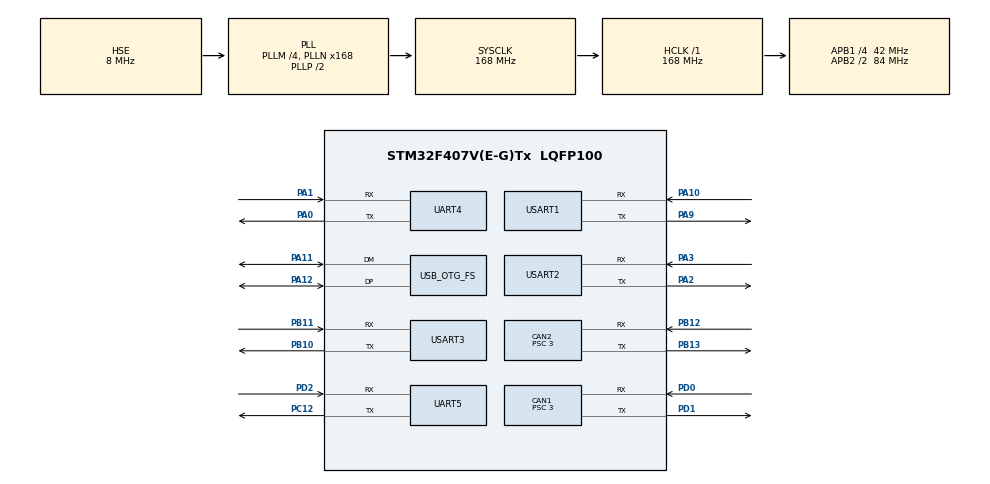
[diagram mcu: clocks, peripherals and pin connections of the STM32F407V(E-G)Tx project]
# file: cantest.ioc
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CAN1.BS1=CAN_BS1_10TQ
CAN1.BS2=CAN_BS2_3TQ
CAN1.CalculateBaudRate=1000000
CAN1.CalculateTimeBit=1000
CAN1.CalculateTimeQuantum=71.42857142857143
CAN1.Prescaler=3
CAN2.BS1=CAN_BS1_10TQ
CAN2.BS2=CAN_BS2_3TQ
CAN2.CalculateBaudRate=1000000
CAN2.CalculateTimeBit=1000
CAN2.CalculateTimeQuantum=71.42857142857143
CAN2.Prescaler=3
Dma.Request0=USART1_RX
Dma.Request1=USART1_TX
Dma.Request2=USART2_RX
Dma.Request3=USART2_TX
Dma.Request4=USART3_RX
Dma.Request5=USART3_TX
Dma.Request6=UART5_TX
Dma.Request7=UART5_RX
Dma.Request8=UART4_RX
Dma.Request9=UART4_TX
Dma.UART4_RX.8.Direction=DMA_PERIPH_TO_MEMORY
Dma.UART4_RX.8.FIFOMode=DMA_FIFOMODE_DISABLE
Dma.UART4_RX.8.Instance=DMA1_Stream2
Dma.UART4_RX.8.MemDataAlignment=DMA_MDATAALIGN_BYTE
Dma.UART4_RX.8.MemInc=DMA_MINC_ENABLE
Dma.UART4_RX.8.Mode=DMA_NORMAL
Dma.UART4_RX.8.PeriphDataAlignment=DMA_PDATAALIGN_BYTE
Dma.UART4_RX.8.PeriphInc=DMA_PINC_DISABLE
Dma.UART4_RX.8.Priority=DMA_PRIORITY_LOW
Dma.UART4_TX.9.Direction=DMA_MEMORY_TO_PERIPH
Dma.UART4_TX.9.FIFOMode=DMA_FIFOMODE_DISABLE
Dma.UART4_TX.9.Instance=DMA1_Stream4
Dma.UART4_TX.9.MemDataAlignment=DMA_MDATAALIGN_BYTE
Dma.UART4_TX.9.MemInc=DMA_MINC_ENABLE
Dma.UART4_TX.9.Mode=DMA_NORMAL
Dma.UART4_TX.9.PeriphDataAlignment=DMA_PDATAALIGN_BYTE
Dma.UART4_TX.9.PeriphInc=DMA_PINC_DISABLE
Dma.UART4_TX.9.Priority=DMA_PRIORITY_LOW
Dma.UART5_RX.7.Direction=DMA_PERIPH_TO_MEMORY
Dma.UART5_RX.7.FIFOMode=DMA_FIFOMODE_DISABLE
Dma.UART5_RX.7.Instance=DMA1_Stream0
Dma.UART5_RX.7.MemDataAlignment=DMA_MDATAALIGN_BYTE
Dma.UART5_RX.7.MemInc=DMA_MINC_ENABLE
Dma.UART5_RX.7.Mode=DMA_NORMAL
Dma.UART5_RX.7.PeriphDataAlignment=DMA_PDATAALIGN_BYTE
Dma.UART5_RX.7.PeriphInc=DMA_PINC_DISABLE
Dma.UART5_RX.7.Priority=DMA_PRIORITY_LOW
Dma.UART5_TX.6.Direction=DMA_MEMORY_TO_PERIPH
Dma.UART5_TX.6.FIFOMode=DMA_FIFOMODE_DISABLE
Dma.UART5_TX.6.Instance=DMA1_Stream7
Dma.UART5_TX.6.MemDataAlignment=DMA_MDATAALIGN_BYTE
Dma.UART5_TX.6.MemInc=DMA_MINC_ENABLE
Dma.UART5_TX.6.Mode=DMA_NORMAL
Dma.UART5_TX.6.PeriphDataAlignment=DMA_PDATAALIGN_BYTE
Dma.UART5_TX.6.PeriphInc=DMA_PINC_DISABLE
Dma.UART5_TX.6.Priority=DMA_PRIORITY_LOW
Dma.USART1_RX.0.Direction=DMA_PERIPH_TO_MEMORY
Dma.USART1_RX.0.FIFOMode=DMA_FIFOMODE_DISABLE
Dma.USART1_RX.0.Instance=DMA2_Stream2
Dma.USART1_RX.0.MemDataAlignment=DMA_MDATAALIGN_BYTE
Dma.USART1_RX.0.MemInc=DMA_MINC_ENABLE
Dma.USART1_RX.0.Mode=DMA_NORMAL
Dma.USART1_RX.0.PeriphDataAlignment=DMA_PDATAALIGN_BYTE
Dma.USART1_RX.0.PeriphInc=DMA_PINC_DISABLE
Dma.USART1_RX.0.Priority=DMA_PRIORITY_LOW
Dma.USART1_TX.1.Direction=DMA_MEMORY_TO_PERIPH
Dma.USART1_TX.1.FIFOMode=DMA_FIFOMODE_DISABLE
Dma.USART1_TX.1.Instance=DMA2_Stream7
Dma.USART1_TX.1.MemDataAlignment=DMA_MDATAALIGN_BYTE
Dma.USART1_TX.1.MemInc=DMA_MINC_ENABLE
Dma.USART1_TX.1.Mode=DMA_NORMAL
Dma.USART1_TX.1.PeriphDataAlignment=DMA_PDATAALIGN_BYTE
Dma.USART1_TX.1.PeriphInc=DMA_PINC_DISABLE
Dma.USART1_TX.1.Priority=DMA_PRIORITY_LOW
Dma.USART2_RX.2.Direction=DMA_PERIPH_TO_MEMORY
Dma.USART2_RX.2.FIFOMode=DMA_FIFOMODE_DISABLE
Dma.USART2_RX.2.Instance=DMA1_Stream5
Dma.USART2_RX.2.MemDataAlignment=DMA_MDATAALIGN_BYTE
Dma.USART2_RX.2.MemInc=DMA_MINC_ENABLE
Dma.USART2_RX.2.Mode=DMA_NORMAL
Dma.USART2_RX.2.PeriphDataAlignment=DMA_PDATAALIGN_BYTE
Dma.USART2_RX.2.PeriphInc=DMA_PINC_DISABLE
Dma.USART2_RX.2.Priority=DMA_PRIORITY_LOW
Dma.USART2_TX.3.Direction=DMA_MEMORY_TO_PERIPH
Dma.USART2_TX.3.FIFOMode=DMA_FIFOMODE_DISABLE
Dma.USART2_TX.3.Instance=DMA1_Stream6
Dma.USART2_TX.3.MemDataAlignment=DMA_MDATAALIGN_BYTE
Dma.USART2_TX.3.MemInc=DMA_MINC_ENABLE
Dma.USART2_TX.3.Mode=DMA_NORMAL
Dma.USART2_TX.3.PeriphDataAlignment=DMA_PDATAALIGN_BYTE
Dma.USART2_TX.3.PeriphInc=DMA_PINC_DISABLE
Dma.USART2_TX.3.Priority=DMA_PRIORITY_LOW
Dma.USART3_RX.4.Direction=DMA_PERIPH_TO_MEMORY
Dma.USART3_RX.4.FIFOMode=DMA_FIFOMODE_DISABLE
Dma.USART3_RX.4.Instance=DMA1_Stream1
Dma.USART3_RX.4.MemDataAlignment=DMA_MDATAALIGN_BYTE
Dma.USART3_RX.4.MemInc=DMA_MINC_ENABLE
Dma.USART3_RX.4.Mode=DMA_NORMAL
Dma.USART3_RX.4.PeriphDataAlignment=DMA_PDATAALIGN_BYTE
Dma.USART3_RX.4.PeriphInc=DMA_PINC_DISABLE
Dma.USART3_RX.4.Priority=DMA_PRIORITY_LOW
Dma.USART3_TX.5.Direction=DMA_MEMORY_TO_PERIPH
Dma.USART3_TX.5.FIFOMode=DMA_FIFOMODE_DISABLE
Dma.USART3_TX.5.Instance=DMA1_Stream3
Dma.USART3_TX.5.MemDataAlignment=DMA_MDATAALIGN_BYTE
Dma.USART3_TX.5.MemInc=DMA_MINC_ENABLE
Dma.USART3_TX.5.Mode=DMA_NORMAL
Dma.USART3_TX.5.PeriphDataAlignment=DMA_PDATAALIGN_BYTE
Dma.USART3_TX.5.PeriphInc=DMA_PINC_DISABLE
Dma.USART3_TX.5.Priority=DMA_PRIORITY_LOW
FREERTOS.Tasks01=defaultTask,24,128,StartDefaultTask,Default,NULL,Dynamic,NULL,NULL
Mcu.Family=STM32F4
Mcu.Name=STM32F407V(E-G)Tx
Mcu.Package=LQFP100
NVIC.CAN1_RX0_IRQn=true\:5\:0\:false\:false\:true\:true\:true\:true\:true
NVIC.CAN1_RX1_IRQn=true\:5\:0\:false\:false\:true\:true\:true\:true\:true
NVIC.CAN2_RX0_IRQn=true\:5\:0\:false\:false\:true\:true\:true\:true\:true
NVIC.CAN2_RX1_IRQn=true\:5\:0\:false\:false\:true\:true\:true\:true\:true
NVIC.DMA1_Stream0_IRQn=true\:5\:0\:false\:false\:true\:true\:false\:true\:true
NVIC.DMA1_Stream1_IRQn=true\:5\:0\:false\:false\:true\:true\:false\:true\:true
NVIC.DMA1_Stream2_IRQn=true\:5\:0\:false\:false\:true\:true\:false\:true\:true
NVIC.DMA1_Stream3_IRQn=true\:5\:0\:false\:false\:true\:true\:false\:true\:true
NVIC.DMA1_Stream4_IRQn=true\:5\:0\:false\:false\:true\:true\:false\:true\:true
NVIC.DMA1_Stream5_IRQn=true\:5\:0\:false\:false\:true\:true\:false\:true\:true
NVIC.DMA1_Stream6_IRQn=true\:5\:0\:false\:false\:true\:true\:false\:true\:true
NVIC.DMA1_Stream7_IRQn=true\:5\:0\:false\:false\:true\:true\:false\:true\:true
NVIC.DMA2_Stream2_IRQn=true\:5\:0\:false\:false\:true\:true\:false\:true\:true
NVIC.DMA2_Stream7_IRQn=true\:5\:0\:false\:false\:true\:true\:false\:true\:true
NVIC.OTG_FS_IRQn=true\:5\:0\:false\:false\:true\:true\:false\:true\:true
NVIC.PriorityGroup=NVIC_PRIORITYGROUP_4
NVIC.TIM1_UP_TIM10_IRQn=true\:15\:0\:false\:false\:true\:false\:false\:true\:true
NVIC.TimeBase=TIM1_UP_TIM10_IRQn
NVIC.TimeBaseIP=TIM1
NVIC.UART5_IRQn=true\:5\:0\:false\:false\:true\:true\:true\:true\:true
NVIC.USART1_IRQn=true\:5\:0\:false\:false\:true\:true\:true\:true\:true
NVIC.USART3_IRQn=true\:5\:0\:false\:false\:true\:true\:true\:true\:true
PA0-WKUP.Mode=Asynchronous
PA0-WKUP.Signal=UART4_TX
PA1.Mode=Asynchronous
PA1.Signal=UART4_RX
PA10.Mode=Asynchronous
PA10.Signal=USART1_RX
PA11.Mode=Device_Only
PA11.Signal=USB_OTG_FS_DM
PA12.Mode=Device_Only
PA12.Signal=USB_OTG_FS_DP
PA13.Mode=Serial_Wire
PA13.Signal=SYS_JTMS-SWDIO
PA14.Mode=Serial_Wire
PA14.Signal=SYS_JTCK-SWCLK
PA2.Mode=Asynchronous
PA2.Signal=USART2_TX
PA3.Mode=Asynchronous
PA3.Signal=USART2_RX
PA9.Mode=Asynchronous
PA9.Signal=USART1_TX
PB10.Mode=Asynchronous
PB10.Signal=USART3_TX
PB11.Mode=Asynchronous
PB11.Signal=USART3_RX
PB12.Mode=CAN_Activate
PB12.Signal=CAN2_RX
PB13.Mode=CAN_Activate
PB13.Signal=CAN2_TX
PC12.Mode=Asynchronous
PC12.Signal=UART5_TX
PC14-OSC32_IN.Mode=LSE-External-Oscillator
PC14-OSC32_IN.Signal=RCC_OSC32_IN
PC15-OSC32_OUT.Mode=LSE-External-Oscillator
PC15-OSC32_OUT.Signal=RCC_OSC32_OUT
PD0.Mode=CAN_Activate
PD0.Signal=CAN1_RX
PD1.Mode=CAN_Activate
PD1.Signal=CAN1_TX
PD2.Mode=Asynchronous
PD2.Signal=UART5_RX
PH0-OSC_IN.Mode=HSE-External-Oscillator
PH0-OSC_IN.Signal=RCC_OSC_IN
PH1-OSC_OUT.Mode=HSE-External-Oscillator
PH1-OSC_OUT.Signal=RCC_OSC_OUT
ProjectManager.HeapSize=0x200
ProjectManager.StackSize=0x400
ProjectManager.TargetToolchain=MDK-ARM V5.32
RCC.48MHZClocksFreq_Value=48000000
RCC.AHBFreq_Value=168000000
RCC.APB1CLKDivider=RCC_HCLK_DIV4
RCC.APB1Freq_Value=42000000
RCC.APB1TimFreq_Value=84000000
RCC.APB2CLKDivider=RCC_HCLK_DIV2
RCC.APB2Freq_Value=84000000
RCC.APB2TimFreq_Value=168000000
RCC.CortexFreq_Value=168000000
RCC.HCLKFreq_Value=168000000
RCC.HSE_VALUE=8000000
RCC.HSI_VALUE=16000000
RCC.PLLM=4
RCC.PLLN=168
RCC.PLLQ=7
RCC.SYSCLKFreq_VALUE=168000000
RCC.SYSCLKSource=RCC_SYSCLKSOURCE_PLLCLK
RCC.VCOOutputFreq_Value=336000000
UART4.VirtualMode=Asynchronous
UART5.VirtualMode=Asynchronous
USART1.VirtualMode=VM_ASYNC
USART2.VirtualMode=VM_ASYNC
USART3.VirtualMode=VM_ASYNC
USB_DEVICE.CLASS_NAME_FS=CDC
USB_DEVICE.VirtualMode-CDC_FS=Cdc
USB_DEVICE.VirtualModeFS=Cdc_FS
USB_OTG_FS.VirtualMode=Device_Only
VP_CRC_VS_CRC.Mode=CRC_Activate
VP_FREERTOS_VS_CMSIS_V2.Mode=CMSIS_V2
VP_SYS_VS_tim1.Mode=TIM1
VP_USB_DEVICE_VS_USB_DEVICE_CDC_FS.Mode=CDC_FS
board=custom

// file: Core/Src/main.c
/* USER CODE BEGIN Header */
/**
  ******************************************************************************
  * @file           : main.c
  * @brief          : Main program body
  ******************************************************************************
  * @attention
  *
  * Copyright (c) 2026 STMicroelectronics.
  * All rights reserved.
  *
  * This software is licensed under terms that can be found in the LICENSE file
  * in the root directory of this software component.
  * If no LICENSE file comes with this software, it is provided AS-IS.
  *
  ******************************************************************************
  */
/* USER CODE END Header */
#include "main.h"
#include "cmsis_os.h"
#include "can.h"
#include "crc.h"
#include "dma.h"
#include "usart.h"
#include "usb_device.h"
#include "gpio.h"

/* USER CODE BEGIN Includes */
#include "bsp_dwt.h"
#include <stdio.h>   /* snprintf: 复位标志诊断 */
/* USER CODE END Includes */

void SystemClock_Config(void);
void MX_FREERTOS_Init(void);

int main(void)
{

  /* MCU Configuration--------------------------------------------------------*/

  /* Reset of all peripherals, Initializes the Flash interface and the Systick. */
  HAL_Init();

  /* Configure the system clock */
  SystemClock_Config();

  /* USER CODE BEGIN SysInit */
  /* 初始化DWT高精度计时器, dji_motor.c 的 DWT_GetDeltaT 依赖此初始化。
   * 注: Keil调试器会自动使能DWT, debug模式正常; 但脱机运行时若不调用
   * DWT_Init, DWT计数器不工作, motor->dt为0, PID计算异常。两工程时钟一致
   * (168MHz), 故参数与源工程相同 SystemCoreClock/1000000 = 168。 */
  DWT_Init(SystemCoreClock / 1000000U);
  /* USER CODE END SysInit */

  /* Initialize all configured peripherals */
  MX_GPIO_Init();
  MX_DMA_Init();
  MX_CAN1_Init();
  MX_USART1_UART_Init();
  MX_CAN2_Init();
  MX_CRC_Init();
  MX_UART5_Init();
  MX_USART2_UART_Init();
  MX_USART3_UART_Init();
  MX_UART4_Init();
  /* USER CODE BEGIN 2 */
  /* USART1 TX 通路诊断: 调度器启动前直接发一帧, 排除 RTOS/printf 因素。
   * 串口工具收到 "UART1-OK" -> PA9 TX 通路正常, 问题在端口接错或 RTOS 侧;
   * 收不到 -> 物理上没接到 USART1(可能在看 USB-CDC, 或线序/波特率错)。
   * 定位后删本行。 */
  HAL_UART_Transmit(&huart1, (uint8_t *)"UART1-OK\r\n", 10, 100);
  /* 复位原因诊断: 读 RCC->CSR 判断本次复位由谁触发。
   * IWDGRSTF=独立看门狗 WWDGRSTF=窗口看门狗 SFTRSTF=软件复位(NVIC_SystemReset)
   * PORRSTF=上电 PINRSTF=复位引脚 BORRSTF=掉电 LPWRSTF=低功耗。
   * IWDG/SFT 置位 = 软件/看门狗反复重启; 仅 POR/PIN/BOR = 硬件/电源。
   * 清标志后下次复位可重新判断。定位后删本块。 */
  {
    uint32_t csr = RCC->CSR;
    char buf[96];
    int n = snprintf(buf, sizeof(buf),
      "\r\nRST CSR=0x%08lX IWDG=%lu WWDG=%lu SFT=%lu POR=%lu PIN=%lu BOR=%lu\r\n",
      (unsigned long)csr,
      (unsigned long)(csr & RCC_CSR_IWDGRSTF ? 1:0),
      (unsigned long)(csr & RCC_CSR_WWDGRSTF ? 1:0),
      (unsigned long)(csr & RCC_CSR_SFTRSTF ? 1:0),
      (unsigned long)(csr & RCC_CSR_PORRSTF ? 1:0),
      (unsigned long)(csr & RCC_CSR_PINRSTF ? 1:0),
      (unsigned long)(csr & RCC_CSR_BORRSTF ? 1:0));
    HAL_UART_Transmit(&huart1, (uint8_t *)buf, (uint16_t)n, 100);
    __HAL_RCC_CLEAR_RESET_FLAGS();
  }
  /* USER CODE END 2 */

  /* Init scheduler */
  osKernelInitialize();  /* Call init function for freertos objects (in cmsis_os2.c) */
  MX_FREERTOS_Init();

  /* Start scheduler */
  osKernelStart();

  /* We should never get here as control is now taken by the scheduler */

  /* Infinite loop */
  while (1)
  {

  }
}

void SystemClock_Config(void)
{
  RCC_OscInitTypeDef RCC_OscInitStruct = {0};
  RCC_ClkInitTypeDef RCC_ClkInitStruct = {0};

  /** Configure the main internal regulator output voltage
  */
  __HAL_RCC_PWR_CLK_ENABLE();
  __HAL_PWR_VOLTAGESCALING_CONFIG(PWR_REGULATOR_VOLTAGE_SCALE1);

  /** Initializes the RCC Oscillators according to the specified parameters
  * in the RCC_OscInitTypeDef structure.
  */
  RCC_OscInitStruct.OscillatorType = RCC_OSCILLATORTYPE_HSE;
  RCC_OscInitStruct.HSEState = RCC_HSE_ON;
  RCC_OscInitStruct.PLL.PLLState = RCC_PLL_ON;
  RCC_OscInitStruct.PLL.PLLSource = RCC_PLLSOURCE_HSE;
  RCC_OscInitStruct.PLL.PLLM = 4;
  RCC_OscInitStruct.PLL.PLLN = 168;
  RCC_OscInitStruct.PLL.PLLP = RCC_PLLP_DIV2;
  RCC_OscInitStruct.PLL.PLLQ = 7;
  if (HAL_RCC_OscConfig(&RCC_OscInitStruct) != HAL_OK)
  {
    Error_Handler();
  }

  /** Initializes the CPU, AHB and APB buses clocks
  */
  RCC_ClkInitStruct.ClockType = RCC_CLOCKTYPE_HCLK|RCC_CLOCKTYPE_SYSCLK
                              |RCC_CLOCKTYPE_PCLK1|RCC_CLOCKTYPE_PCLK2;
  RCC_ClkInitStruct.SYSCLKSource = RCC_SYSCLKSOURCE_PLLCLK;
  RCC_ClkInitStruct.AHBCLKDivider = RCC_SYSCLK_DIV1;
  RCC_ClkInitStruct.APB1CLKDivider = RCC_HCLK_DIV4;
  RCC_ClkInitStruct.APB2CLKDivider = RCC_HCLK_DIV2;

  if (HAL_RCC_ClockConfig(&RCC_ClkInitStruct, FLASH_LATENCY_5) != HAL_OK)
  {
    Error_Handler();
  }
}

void HAL_TIM_PeriodElapsedCallback(TIM_HandleTypeDef *htim)
{
  if (htim->Instance == TIM1)
  {
    HAL_IncTick();
  }
}

void Error_Handler(void)
{
  __disable_irq();
  while (1)
  {
  }
}

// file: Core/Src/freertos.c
/* USER CODE BEGIN Header */
/**
  ******************************************************************************
  * File Name          : freertos.c
  * Description        : Code for freertos applications
  ******************************************************************************
  * @attention
  *
  * Copyright (c) 2026 STMicroelectronics.
  * All rights reserved.
  *
  * This software is licensed under terms that can be found in the LICENSE file
  * in the root directory of this software component.
  * If no LICENSE file comes with this software, it is provided AS-IS.
  *
  ******************************************************************************
  */
/* USER CODE END Header */

#include "FreeRTOS.h"
#include "task.h"
#include "main.h"
#include "cmsis_os.h"

/* USER CODE BEGIN Includes */
#include "can.h"
#include "usart.h"
#include <stdio.h>
#include "app_init.h"

/* USER CODE END Includes */

/* Definitions for defaultTask */
osThreadId_t defaultTaskHandle;
const osThreadAttr_t defaultTask_attributes = {
  .name = "defaultTask",
  .stack_size = 1024 * 4,  /* 4KB: App_Init + upstream 队列版 fputc(128B tmp) 栈开销; 需同步改 CubeMX defaultTask 栈 */
  .priority = (osPriority_t) osPriorityNormal,
};

void StartDefaultTask(void *argument);

extern void MX_USB_DEVICE_Init(void);
void MX_FREERTOS_Init(void); /* (MISRA C 2004 rule 8.1) */

void MX_FREERTOS_Init(void) {

  /* Create the thread(s) */
  /* creation of defaultTask */
  defaultTaskHandle = osThreadNew(StartDefaultTask, NULL, &defaultTask_attributes);

  /* USER CODE BEGIN RTOS_THREADS */
  /* App_Init 在 StartDefaultTask 里调用(调度器启动后, osDelay 可用)。
   * 曾尝试移到此处(调度器前), 但 HAL_Delay 在 osKernelStart 前卡死(uwTick 不递增), 回退。 */
  /* USER CODE END RTOS_THREADS */

}

void StartDefaultTask(void *argument)
{
  /* init code for USB_DEVICE */
  MX_USB_DEVICE_Init();
  /* USER CODE BEGIN StartDefaultTask */
  /* 应用层初始化: 升降/步进/CAN/UART 子系统初始化编排 + 任务创建。
   * 在调度器启动后执行(defaultTask 上下文), osDelay 可用。 */
  App_Init();

  /* defaultTask 保活 */
  for (;;)
  {
    osDelay(1000);
  }
  /* USER CODE END StartDefaultTask */
}

/* USER CODE BEGIN Application */
/* printf 重定向在 bsp/printf/bsp_printf.c (fputc)。
 * 旧 CAN demo 已随四层架构移植移除, 业务逻辑见 app/app_init.c。 */

/* FreeRTOS 栈溢出钩子(configCHECK_FOR_STACK_OVERFLOW=2): 栈溢出时打印任务名,
 * 替代直接跳NULL的HardFault, 直接定位是哪个任务栈不够。 */
void vApplicationStackOverflowHook(TaskHandle_t xTask, char *pcTaskName)
{
  (void)xTask;
  printf("\r\n*** STACK OVERFLOW in task: %s ***\r\n", pcTaskName);
  while (1) {}
}
/* USER CODE END Application */
